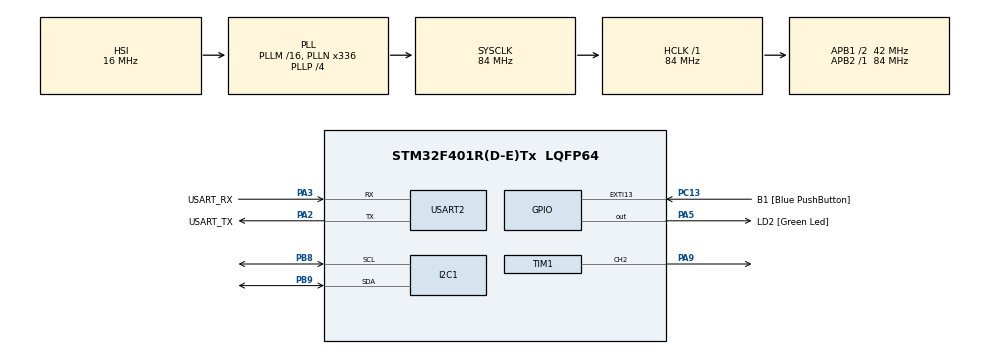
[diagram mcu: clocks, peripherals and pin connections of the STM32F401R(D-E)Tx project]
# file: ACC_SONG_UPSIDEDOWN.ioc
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Dma.I2C1_RX.0.Direction=DMA_PERIPH_TO_MEMORY
Dma.I2C1_RX.0.FIFOMode=DMA_FIFOMODE_DISABLE
Dma.I2C1_RX.0.Instance=DMA1_Stream0
Dma.I2C1_RX.0.MemDataAlignment=DMA_MDATAALIGN_BYTE
Dma.I2C1_RX.0.MemInc=DMA_MINC_ENABLE
Dma.I2C1_RX.0.Mode=DMA_NORMAL
Dma.I2C1_RX.0.PeriphDataAlignment=DMA_PDATAALIGN_BYTE
Dma.I2C1_RX.0.PeriphInc=DMA_PINC_DISABLE
Dma.I2C1_RX.0.Priority=DMA_PRIORITY_HIGH
Dma.Request0=I2C1_RX
Dma.Request1=USART2_TX
Dma.USART2_TX.1.Direction=DMA_MEMORY_TO_PERIPH
Dma.USART2_TX.1.FIFOMode=DMA_FIFOMODE_DISABLE
Dma.USART2_TX.1.Instance=DMA1_Stream6
Dma.USART2_TX.1.MemDataAlignment=DMA_MDATAALIGN_BYTE
Dma.USART2_TX.1.MemInc=DMA_MINC_ENABLE
Dma.USART2_TX.1.Mode=DMA_NORMAL
Dma.USART2_TX.1.PeriphDataAlignment=DMA_PDATAALIGN_BYTE
Dma.USART2_TX.1.PeriphInc=DMA_PINC_DISABLE
Dma.USART2_TX.1.Priority=DMA_PRIORITY_HIGH
Mcu.Family=STM32F4
Mcu.Name=STM32F401R(D-E)Tx
Mcu.Package=LQFP64
NVIC.DMA1_Stream0_IRQn=true\:0\:0\:false\:false\:true\:false\:true\:true
NVIC.DMA1_Stream6_IRQn=true\:0\:0\:false\:false\:true\:false\:true\:true
NVIC.I2C1_ER_IRQn=true\:0\:0\:false\:false\:true\:true\:true\:true
NVIC.I2C1_EV_IRQn=true\:0\:0\:false\:false\:true\:true\:true\:true
NVIC.PriorityGroup=NVIC_PRIORITYGROUP_4
NVIC.TIM2_IRQn=true\:0\:0\:false\:false\:true\:true\:true\:true
NVIC.TIM3_IRQn=true\:0\:0\:false\:false\:true\:true\:true\:true
NVIC.USART2_IRQn=true\:0\:0\:false\:false\:true\:true\:true\:true
PA13.GPIO_Label=TMS
PA13.Mode=Trace_Asynchronous_SW
PA13.Signal=SYS_JTMS-SWDIO
PA14.GPIO_Label=TCK
PA14.Mode=Trace_Asynchronous_SW
PA14.Signal=SYS_JTCK-SWCLK
PA2.GPIO_Label=USART_TX
PA2.GPIO_Mode=GPIO_MODE_AF_PP
PA2.GPIO_PuPd=GPIO_NOPULL
PA2.GPIO_Speed=GPIO_SPEED_FREQ_LOW
PA2.Mode=Asynchronous
PA2.Signal=USART2_TX
PA3.GPIO_Label=USART_RX
PA3.GPIO_Mode=GPIO_MODE_AF_PP
PA3.GPIO_PuPd=GPIO_NOPULL
PA3.GPIO_Speed=GPIO_SPEED_FREQ_LOW
PA3.Mode=Asynchronous
PA3.Signal=USART2_RX
PA5.GPIO_Label=LD2 [Green Led]
PA5.GPIO_Mode=GPIO_MODE_OUTPUT_PP
PA5.GPIO_PuPd=GPIO_NOPULL
PA5.GPIO_Speed=GPIO_SPEED_FREQ_LOW
PA5.Signal=GPIO_Output
PA9.Signal=S_TIM1_CH2
PB3.GPIO_Label=SWO
PB3.Mode=Trace_Asynchronous_SW
PB3.Signal=SYS_JTDO-SWO
PB8.Mode=I2C
PB8.Signal=I2C1_SCL
PB9.Mode=I2C
PB9.Signal=I2C1_SDA
PC13-ANTI_TAMP.GPIO_Label=B1 [Blue PushButton]
PC13-ANTI_TAMP.GPIO_ModeDefaultEXTI=GPIO_MODE_IT_FALLING
PC13-ANTI_TAMP.GPIO_PuPd=GPIO_NOPULL
PC13-ANTI_TAMP.Signal=GPXTI13
PC14-OSC32_IN.Mode=LSE-External-Oscillator
PC14-OSC32_IN.Signal=RCC_OSC32_IN
PC15-OSC32_OUT.Mode=LSE-External-Oscillator
PC15-OSC32_OUT.Signal=RCC_OSC32_OUT
PH0\ -\ OSC_IN.Mode=HSE-External-Clock-Source
PH0\ -\ OSC_IN.Signal=RCC_OSC_IN
PH1\ -\ OSC_OUT.Mode=HSE-External-Clock-Source
PH1\ -\ OSC_OUT.Signal=RCC_OSC_OUT
ProjectManager.HeapSize=0x200
ProjectManager.StackSize=0x400
ProjectManager.TargetToolchain=STM32CubeIDE
RCC.48MHZClocksFreq_Value=48000000
RCC.AHBFreq_Value=84000000
RCC.APB1CLKDivider=RCC_HCLK_DIV2
RCC.APB1Freq_Value=42000000
RCC.APB1TimFreq_Value=84000000
RCC.APB2Freq_Value=84000000
RCC.APB2TimFreq_Value=84000000
RCC.CortexFreq_Value=84000000
RCC.HCLKFreq_Value=84000000
RCC.HSE_VALUE=8000000
RCC.HSI_VALUE=16000000
RCC.PLLN=336
RCC.PLLP=RCC_PLLP_DIV4
RCC.PLLQ=7
RCC.SYSCLKFreq_VALUE=84000000
RCC.SYSCLKSource=RCC_SYSCLKSOURCE_PLLCLK
RCC.VCOOutputFreq_Value=336000000
SH.S_TIM1_CH2.0=TIM1_CH2,PWM Generation2 CH2
TIM1.AutoReloadPreload=TIM_AUTORELOAD_PRELOAD_ENABLE
TIM1.Channel-PWM\ Generation2\ CH2=TIM_CHANNEL_2
TIM1.Period=1909
TIM1.Prescaler=99
TIM1.Pulse-PWM\ Generation2\ CH2=954
TIM2.Period=209999
TIM2.Prescaler=99
TIM3.Period=839
TIM3.Prescaler=9999
USART2.VirtualMode=VM_ASYNC
VP_TIM2_VS_ClockSourceINT.Mode=Internal
VP_TIM3_VS_ClockSourceINT.Mode=Internal
board=NUCLEO-F401RE

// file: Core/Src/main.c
/* USER CODE BEGIN Header */
/**
  ******************************************************************************
  * @file           : main.c
  * @brief          : Main program body
  ******************************************************************************
  * @attention
  *
  * Copyright (c) 2026 STMicroelectronics.
  * All rights reserved.
  *
  * This software is licensed under terms that can be found in the LICENSE file
  * in the root directory of this software component.
  * If no LICENSE file comes with this software, it is provided AS-IS.
  *
  ******************************************************************************
  */
/* USER CODE END Header */
#include "main.h"

/* USER CODE BEGIN Includes */
#include "stdio.h"
#include "string.h"

/* USER CODE END Includes */

/* USER CODE BEGIN PTD */
// Definiamo una struttura "Note"
typedef struct {
    int Period;
    int Duration;
} Note;
/* USER CODE END PTD */

/* USER CODE BEGIN PD */
#define LIS2DE_ADDR (0b0101000 << 1)
#define CTRL_REG1_ADDR (0x20)
#define CTRL_REG4_ADDR (0x23)
#define OUT_X_ADDR (0x29)
#define OUT_Y_ADDR (0x2B)
#define OUT_Z_ADDR (0x2D)

// 0x29 -> 0x2A -> 0x2B -> 0x2C -> 0x2D
// Sono 5 registri, uno dopo l'altro, di cui ci enteressano solo 3

#define PeriodFA4 2405   // F4 = 349.23 Hz
#define PeriodLA4 1909   // A4 = 440.00 Hz
#define PeriodSI4 1701   // B4 = 493.88 Hz
#define PeriodDO5 1605   // C5 = 523.25 Hz
#define PeriodRE5 1430   // D5 = 587.33 Hz
#define PeriodMI5 1274   // E5 = 659.25 Hz

#define SIZE_SONG 16
/* USER CODE END PD */

I2C_HandleTypeDef hi2c1;
DMA_HandleTypeDef hdma_i2c1_rx;

TIM_HandleTypeDef htim1;
TIM_HandleTypeDef htim2;
TIM_HandleTypeDef htim3;

UART_HandleTypeDef huart2;
DMA_HandleTypeDef hdma_usart2_tx;

/* USER CODE BEGIN PV */
uint8_t ctrl1_config=0x17; // 0001 0111
// ODR[3:0] = 0001 -> 1 Hz
// lPen = 0 -> Normal Mode (non low-power)
// Zen, Yen, Xen = 1 -> tutti gli assi abilitati
uint8_t ctrl4_config = 0x00; // default 0000 0000
// FSR = +/-2g e Normal Mode (non Self Test)

uint8_t raw; // 1 byte

float acc;

// Song
int i=0;
int ticks=0;
uint32_t duration_note=500; // valore a caso

Note Swan_Lake[] = {
		{PeriodMI5, 4},
		{PeriodLA4, 1},
		{PeriodSI4, 1},
		{PeriodDO5, 1},
		{PeriodRE5, 1},
		{PeriodMI5, 3},
		{PeriodDO5, 1},
		{PeriodMI5, 3},
		{PeriodDO5, 1},
		{PeriodMI5, 3},
		{PeriodLA4, 1},
		{PeriodDO5, 1},
		{PeriodLA4, 1},
		{PeriodFA4, 1},
		{PeriodDO5, 1},
		{PeriodLA4, 4}
};

volatile uint8_t suona=0;
/* USER CODE END PV */

void SystemClock_Config(void);
static void MX_GPIO_Init(void);
static void MX_DMA_Init(void);
static void MX_USART2_UART_Init(void);
static void MX_I2C1_Init(void);
static void MX_TIM2_Init(void);
static void MX_TIM1_Init(void);
static void MX_TIM3_Init(void);

/* USER CODE BEGIN 0 */
void AccelerometerInitialization(void){ // Configurazione Registri
	// CTRL1
	// ODR[3:0] = 0001
	// LPEN = 0
	// XEN, YEN, ZEN=1
	HAL_I2C_Mem_Write(&hi2c1, LIS2DE_ADDR, CTRL_REG1_ADDR, I2C_MEMADD_SIZE_8BIT, &ctrl1_config, 1, HAL_MAX_DELAY);
	// CTRL4
	// FSR = +/-2g
	HAL_I2C_Mem_Write(&hi2c1, LIS2DE_ADDR, CTRL_REG4_ADDR, I2C_MEMADD_SIZE_8BIT, &ctrl4_config, 1, HAL_MAX_DELAY);
	return;
}

void play_note(uint32_t Period, uint32_t Duration){
    duration_note=Duration;
    ticks=0;

	// Aggiorna il Periodo (frequenza) nel registro del Timer
    // L'unica variabile da ri-inizializzare è quella di base (più veloce di HAL_TIM_Base_Init)
    // Usiamo una macro veloce che accede direttamente al registro
    __HAL_TIM_SET_AUTORELOAD(&htim1, Period - 1);

    // Aggiorna il Pulse (Duty Cycle)
    __HAL_TIM_SET_COMPARE(&htim1, TIM_CHANNEL_2, Period / 2);

    // Fai suonare nota
	HAL_TIM_PWM_Start(&htim1, TIM_CHANNEL_2);
}

void HAL_TIM_PeriodElapsedCallback(TIM_HandleTypeDef *htim)
{
    if (htim->Instance == TIM3)
    {
    	// Read the accelerometer
    	HAL_I2C_Mem_Read_DMA(&hi2c1, LIS2DE_ADDR, OUT_Z_ADDR, I2C_MEMADD_SIZE_8BIT, &raw, 1);
    }

	if(htim->Instance == TIM2){
		if(suona){
			ticks+=1;
			if(ticks==duration_note){
				i+=1;
				if(i==SIZE_SONG){ // Fine Canzone
					i=0;
				}
				play_note(Swan_Lake[i].Period, Swan_Lake[i].Duration);
			}
		}
	}
}

void HAL_I2C_MemRxCpltCallback(I2C_HandleTypeDef *hi2c)
{
    if (hi2c->Instance == I2C1)
    {
        acc = ((int8_t)raw * 15.6) / 1000.0;  // OUT_Z

        //n = sprintf(message, "X: %+.2f g\r\nY: %+.2f g\r\nZ: %+.2f g\r\n", acc[0], acc[1], acc[2]);
        //HAL_UART_Transmit_DMA(&huart2, (uint8_t*)message, n);

        if(acc>0.0f && suona){ // Stavamo suonando
        	suona=0; // resettiamo una volta sola
        	HAL_TIM_PWM_Stop(&htim1, TIM_CHANNEL_2);

        }else if(acc<0.0f && !suona){ // Non stiamo già suonando
			suona=1;
			play_note(Swan_Lake[i].Period, Swan_Lake[i].Duration);
        }
    }
}
/* USER CODE END 0 */

int main(void)
{

  /* MCU Configuration--------------------------------------------------------*/

  /* Reset of all peripherals, Initializes the Flash interface and the Systick. */
  HAL_Init();

  /* Configure the system clock */
  SystemClock_Config();

  /* Initialize all configured peripherals */
  MX_GPIO_Init();
  MX_DMA_Init();
  MX_USART2_UART_Init();
  MX_I2C1_Init();
  MX_TIM2_Init();
  MX_TIM1_Init();
  MX_TIM3_Init();
  /* USER CODE BEGIN 2 */
  AccelerometerInitialization();
  HAL_TIM_Base_Start_IT(&htim3); // Read ACC (10Hz)
  HAL_TIM_Base_Start_IT(&htim2); // Song Ticks

  /* USER CODE END 2 */

  /* Infinite loop */
  while (1)
  {

  }
}

void SystemClock_Config(void)
{
  RCC_OscInitTypeDef RCC_OscInitStruct = {0};
  RCC_ClkInitTypeDef RCC_ClkInitStruct = {0};

  /** Configure the main internal regulator output voltage
  */
  __HAL_RCC_PWR_CLK_ENABLE();
  __HAL_PWR_VOLTAGESCALING_CONFIG(PWR_REGULATOR_VOLTAGE_SCALE2);

  /** Initializes the RCC Oscillators according to the specified parameters
  * in the RCC_OscInitTypeDef structure.
  */
  RCC_OscInitStruct.OscillatorType = RCC_OSCILLATORTYPE_HSI;
  RCC_OscInitStruct.HSIState = RCC_HSI_ON;
  RCC_OscInitStruct.HSICalibrationValue = RCC_HSICALIBRATION_DEFAULT;
  RCC_OscInitStruct.PLL.PLLState = RCC_PLL_ON;
  RCC_OscInitStruct.PLL.PLLSource = RCC_PLLSOURCE_HSI;
  RCC_OscInitStruct.PLL.PLLM = 16;
  RCC_OscInitStruct.PLL.PLLN = 336;
  RCC_OscInitStruct.PLL.PLLP = RCC_PLLP_DIV4;
  RCC_OscInitStruct.PLL.PLLQ = 7;
  if (HAL_RCC_OscConfig(&RCC_OscInitStruct) != HAL_OK)
  {
    Error_Handler();
  }

  /** Initializes the CPU, AHB and APB buses clocks
  */
  RCC_ClkInitStruct.ClockType = RCC_CLOCKTYPE_HCLK|RCC_CLOCKTYPE_SYSCLK
                              |RCC_CLOCKTYPE_PCLK1|RCC_CLOCKTYPE_PCLK2;
  RCC_ClkInitStruct.SYSCLKSource = RCC_SYSCLKSOURCE_PLLCLK;
  RCC_ClkInitStruct.AHBCLKDivider = RCC_SYSCLK_DIV1;
  RCC_ClkInitStruct.APB1CLKDivider = RCC_HCLK_DIV2;
  RCC_ClkInitStruct.APB2CLKDivider = RCC_HCLK_DIV1;

  if (HAL_RCC_ClockConfig(&RCC_ClkInitStruct, FLASH_LATENCY_2) != HAL_OK)
  {
    Error_Handler();
  }
}

static void MX_I2C1_Init(void)
{

  hi2c1.Instance = I2C1;
  hi2c1.Init.ClockSpeed = 100000;
  hi2c1.Init.DutyCycle = I2C_DUTYCYCLE_2;
  hi2c1.Init.OwnAddress1 = 0;
  hi2c1.Init.AddressingMode = I2C_ADDRESSINGMODE_7BIT;
  hi2c1.Init.DualAddressMode = I2C_DUALADDRESS_DISABLE;
  hi2c1.Init.OwnAddress2 = 0;
  hi2c1.Init.GeneralCallMode = I2C_GENERALCALL_DISABLE;
  hi2c1.Init.NoStretchMode = I2C_NOSTRETCH_DISABLE;
  if (HAL_I2C_Init(&hi2c1) != HAL_OK)
  {
    Error_Handler();
  }

}

static void MX_TIM1_Init(void)
{

  TIM_MasterConfigTypeDef sMasterConfig = {0};
  TIM_OC_InitTypeDef sConfigOC = {0};
  TIM_BreakDeadTimeConfigTypeDef sBreakDeadTimeConfig = {0};

  htim1.Instance = TIM1;
  htim1.Init.Prescaler = 99;
  htim1.Init.CounterMode = TIM_COUNTERMODE_UP;
  htim1.Init.Period = 1909;
  htim1.Init.ClockDivision = TIM_CLOCKDIVISION_DIV1;
  htim1.Init.RepetitionCounter = 0;
  htim1.Init.AutoReloadPreload = TIM_AUTORELOAD_PRELOAD_ENABLE;
  if (HAL_TIM_PWM_Init(&htim1) != HAL_OK)
  {
    Error_Handler();
  }
  sMasterConfig.MasterOutputTrigger = TIM_TRGO_RESET;
  sMasterConfig.MasterSlaveMode = TIM_MASTERSLAVEMODE_DISABLE;
  if (HAL_TIMEx_MasterConfigSynchronization(&htim1, &sMasterConfig) != HAL_OK)
  {
    Error_Handler();
  }
  sConfigOC.OCMode = TIM_OCMODE_PWM1;
  sConfigOC.Pulse = 954;
  sConfigOC.OCPolarity = TIM_OCPOLARITY_HIGH;
  sConfigOC.OCNPolarity = TIM_OCNPOLARITY_HIGH;
  sConfigOC.OCFastMode = TIM_OCFAST_DISABLE;
  sConfigOC.OCIdleState = TIM_OCIDLESTATE_RESET;
  sConfigOC.OCNIdleState = TIM_OCNIDLESTATE_RESET;
  if (HAL_TIM_PWM_ConfigChannel(&htim1, &sConfigOC, TIM_CHANNEL_2) != HAL_OK)
  {
    Error_Handler();
  }
  sBreakDeadTimeConfig.OffStateRunMode = TIM_OSSR_DISABLE;
  sBreakDeadTimeConfig.OffStateIDLEMode = TIM_OSSI_DISABLE;
  sBreakDeadTimeConfig.LockLevel = TIM_LOCKLEVEL_OFF;
  sBreakDeadTimeConfig.DeadTime = 0;
  sBreakDeadTimeConfig.BreakState = TIM_BREAK_DISABLE;
  sBreakDeadTimeConfig.BreakPolarity = TIM_BREAKPOLARITY_HIGH;
  sBreakDeadTimeConfig.AutomaticOutput = TIM_AUTOMATICOUTPUT_DISABLE;
  if (HAL_TIMEx_ConfigBreakDeadTime(&htim1, &sBreakDeadTimeConfig) != HAL_OK)
  {
    Error_Handler();
  }
  HAL_TIM_MspPostInit(&htim1);

}

static void MX_TIM2_Init(void)
{

  TIM_ClockConfigTypeDef sClockSourceConfig = {0};
  TIM_MasterConfigTypeDef sMasterConfig = {0};

  htim2.Instance = TIM2;
  htim2.Init.Prescaler = 99;
  htim2.Init.CounterMode = TIM_COUNTERMODE_UP;
  htim2.Init.Period = 209999;
  htim2.Init.ClockDivision = TIM_CLOCKDIVISION_DIV1;
  htim2.Init.AutoReloadPreload = TIM_AUTORELOAD_PRELOAD_DISABLE;
  if (HAL_TIM_Base_Init(&htim2) != HAL_OK)
  {
    Error_Handler();
  }
  sClockSourceConfig.ClockSource = TIM_CLOCKSOURCE_INTERNAL;
  if (HAL_TIM_ConfigClockSource(&htim2, &sClockSourceConfig) != HAL_OK)
  {
    Error_Handler();
  }
  sMasterConfig.MasterOutputTrigger = TIM_TRGO_RESET;
  sMasterConfig.MasterSlaveMode = TIM_MASTERSLAVEMODE_DISABLE;
  if (HAL_TIMEx_MasterConfigSynchronization(&htim2, &sMasterConfig) != HAL_OK)
  {
    Error_Handler();
  }

}

static void MX_TIM3_Init(void)
{

  TIM_ClockConfigTypeDef sClockSourceConfig = {0};
  TIM_MasterConfigTypeDef sMasterConfig = {0};

  htim3.Instance = TIM3;
  htim3.Init.Prescaler = 9999;
  htim3.Init.CounterMode = TIM_COUNTERMODE_UP;
  htim3.Init.Period = 839;
  htim3.Init.ClockDivision = TIM_CLOCKDIVISION_DIV1;
  htim3.Init.AutoReloadPreload = TIM_AUTORELOAD_PRELOAD_DISABLE;
  if (HAL_TIM_Base_Init(&htim3) != HAL_OK)
  {
    Error_Handler();
  }
  sClockSourceConfig.ClockSource = TIM_CLOCKSOURCE_INTERNAL;
  if (HAL_TIM_ConfigClockSource(&htim3, &sClockSourceConfig) != HAL_OK)
  {
    Error_Handler();
  }
  sMasterConfig.MasterOutputTrigger = TIM_TRGO_RESET;
  sMasterConfig.MasterSlaveMode = TIM_MASTERSLAVEMODE_DISABLE;
  if (HAL_TIMEx_MasterConfigSynchronization(&htim3, &sMasterConfig) != HAL_OK)
  {
    Error_Handler();
  }

}

static void MX_USART2_UART_Init(void)
{

  huart2.Instance = USART2;
  huart2.Init.BaudRate = 115200;
  huart2.Init.WordLength = UART_WORDLENGTH_8B;
  huart2.Init.StopBits = UART_STOPBITS_1;
  huart2.Init.Parity = UART_PARITY_NONE;
  huart2.Init.Mode = UART_MODE_TX_RX;
  huart2.Init.HwFlowCtl = UART_HWCONTROL_NONE;
  huart2.Init.OverSampling = UART_OVERSAMPLING_16;
  if (HAL_UART_Init(&huart2) != HAL_OK)
  {
    Error_Handler();
  }

}

static void MX_DMA_Init(void)
{

  /* DMA controller clock enable */
  __HAL_RCC_DMA1_CLK_ENABLE();

  /* DMA interrupt init */
  /* DMA1_Stream0_IRQn interrupt configuration */
  HAL_NVIC_SetPriority(DMA1_Stream0_IRQn, 0, 0);
  HAL_NVIC_EnableIRQ(DMA1_Stream0_IRQn);
  /* DMA1_Stream6_IRQn interrupt configuration */
  HAL_NVIC_SetPriority(DMA1_Stream6_IRQn, 0, 0);
  HAL_NVIC_EnableIRQ(DMA1_Stream6_IRQn);

}

static void MX_GPIO_Init(void)
{
  GPIO_InitTypeDef GPIO_InitStruct = {0};

  /* GPIO Ports Clock Enable */
  __HAL_RCC_GPIOC_CLK_ENABLE();
  __HAL_RCC_GPIOH_CLK_ENABLE();
  __HAL_RCC_GPIOA_CLK_ENABLE();
  __HAL_RCC_GPIOB_CLK_ENABLE();

  /*Configure GPIO pin Output Level */
  HAL_GPIO_WritePin(LD2_GPIO_Port, LD2_Pin, GPIO_PIN_RESET);

  /*Configure GPIO pin : B1_Pin */
  GPIO_InitStruct.Pin = B1_Pin;
  GPIO_InitStruct.Mode = GPIO_MODE_IT_FALLING;
  GPIO_InitStruct.Pull = GPIO_NOPULL;
  HAL_GPIO_Init(B1_GPIO_Port, &GPIO_InitStruct);

  /*Configure GPIO pin : LD2_Pin */
  GPIO_InitStruct.Pin = LD2_Pin;
  GPIO_InitStruct.Mode = GPIO_MODE_OUTPUT_PP;
  GPIO_InitStruct.Pull = GPIO_NOPULL;
  GPIO_InitStruct.Speed = GPIO_SPEED_FREQ_LOW;
  HAL_GPIO_Init(LD2_GPIO_Port, &GPIO_InitStruct);

}

void Error_Handler(void)
{
  __disable_irq();
  while (1)
  {
  }
}
